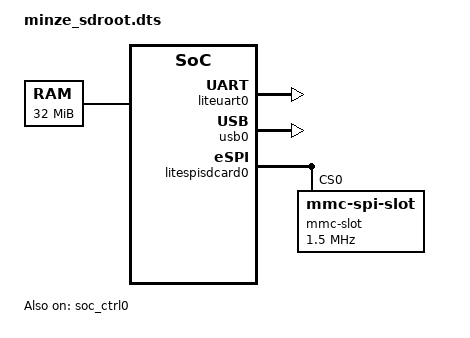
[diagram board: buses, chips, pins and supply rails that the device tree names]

/dts-v1/;

/ {
        #address-cells = <1>;
        #size-cells    = <1>;


        chosen {
            bootargs = "console=liteuart earlycon=liteuart,0xf0001000 rootwait root=/dev/mmcblk0p2 fbcon=logo-pos:0";
        };

        sys_clk: pll {
            compatible = "fixed-clock";
            #clock-cells = <0>;
            clock-frequency  = <48000000>;
        };

        cpus {
            #address-cells = <1>;
            #size-cells    = <0>;
            timebase-frequency = <48000000>;

            CPU0: cpu@0 {
                device_type = "cpu";
                compatible = "riscv";
                riscv,isa = "rv32i2p0_ma";
                riscv,isa-base = "rv32i";
                riscv,isa-extensions = "i", "m", "a";
                mmu-type = "riscv,sv32";
                reg = <0>;
                clock-frequency = <48000000>;
                status = "okay";
                
                d-cache-size = <64>;
                d-cache-sets = <1>;
                d-cache-block-size = <64>;

                i-cache-size = <64>;
                i-cache-sets = <1>;
                i-cache-block-size = <64>;

                
                d-tlb-size = <4>;
                d-tlb-sets = <4>;

                i-tlb-size = <4>;
                i-tlb-sets = <4>;

                
                L0: interrupt-controller {
                    #address-cells = <0>;
                    #interrupt-cells = <0x00000001>;
                    interrupt-controller;
                    compatible = "riscv,cpu-intc";
                };
            };

            
        };

        memory: memory@40000000 {
            device_type = "memory";
            reg = <0x40000000 0x2000000>;
        };

        reserved-memory {
            #address-cells = <1>;
            #size-cells    = <1>;
            ranges;

            opensbi@40f00000 {
                reg = <0x40f00000 0x80000>;
            };

            framebuffer@40c00000 {
                reg = <0x40c00000 0x96000>;
            };

        };

        soc {
            #address-cells = <1>;
            #size-cells    = <1>;
            compatible = "simple-bus";
            interrupt-parent = <&intc0>;
            ranges;

            soc_ctrl0: soc_controller@f0000000 {
                compatible = "litex,soc-controller";
                reg = <0xf0000000 0xc>;
                status = "okay";
            };

            intc0: interrupt-controller@f0c00000 {
                compatible = "sifive,fu540-c000-plic", "sifive,plic-1.0.0";
                reg = <0xf0c00000 0x400000>;
                #address-cells = <0>;
                #interrupt-cells = <1>;
                interrupt-controller;
                interrupts-extended = <
                    &L0 11 &L0 9>;
                riscv,ndev = <32>;
                
            };

            liteuart0: serial@f0001000 {
                compatible = "litex,liteuart";
                reg = <0xf0001000 0x100>;
                interrupts = <1>;
                status = "okay";
            };

            usb0: mac@c0000000 {
                compatible = "generic-ohci";
                reg = <0xc0000000 0x1000>;
                interrupts = <16>;
                status = "okay";
            };

            litespisdcard0: spi@f0002800 {
                compatible = "litex,litespi";
                reg = <0xf0002800 0x100>;
                status = "okay";

                litespi,max-bpw = <8>;
                litespi,sck-frequency = <1500000>;
                litespi,num-cs = <1>;

                #address-cells = <1>;
                #size-cells    = <0>;

                mmc-slot@0 {
                    compatible = "mmc-spi-slot";
                    reg = <0>;
                    voltage-ranges = <3300 3300>;
                    spi-max-frequency = <1500000>;
                    status = "okay";
                    };
            };

            framebuffer0: framebuffer@40c00000 {
                compatible = "simple-framebuffer";
                reg = <0x40c00000 0x96000>;
                width = <640>;
                height = <480>;
                stride = <1280>;
                format = "r5g6b5";
            };

        };

        aliases {

                serial0 = &liteuart0;

                sdcard0 = &litespisdcard0;

        };

};
